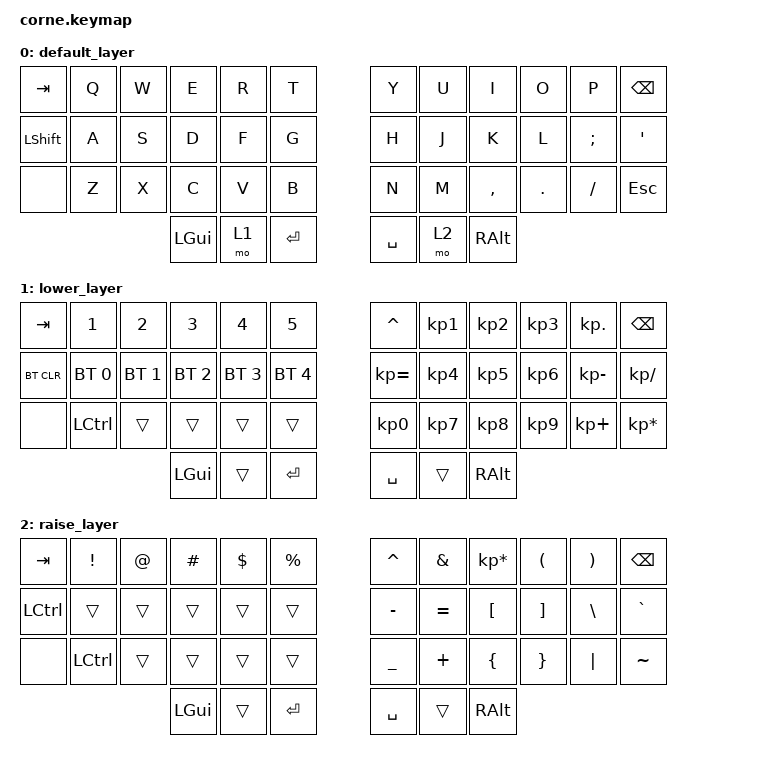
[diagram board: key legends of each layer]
/*
 * Copyright (c) 2020 The ZMK Contributors
 *
 * SPDX-License-Identifier: MIT
 */

#include <behaviors.dtsi>
#include <dt-bindings/zmk/bt.h>
#include <dt-bindings/zmk/keys.h>

/ {
    keymap {
        compatible = "zmk,keymap";

        default_layer {
            // -----------------------------------------------------------------------------------------
            // |  TAB |  Q  |  W  |  E  |  R  |  T  |   |  Y  |  U   |  I  |  O  |  P  | BKSP |
            // | CTRL |  A  |  S  |  D  |  F  |  G  |   |  H  |  J   |  K  |  L  |  ;  |  '   |
            // | SHFT |  Z  |  X  |  C  |  V  |  B  |   |  N  |  M   |  ,  |  .  |  /  | ESC  |
            //                    | GUI | LWR | SPC |   | ENT | RSE  | ALT |

            bindings = <
&kp TAB         &kp Q  &kp W  &kp E     &kp R  &kp T        &kp Y      &kp U  &kp I      &kp O    &kp P     &kp BSPC
&kp LEFT_SHIFT  &kp A  &kp S  &kp D     &kp F  &kp G        &kp H      &kp J  &kp K      &kp L    &kp SEMI  &kp SQT
&none           &kp Z  &kp X  &kp C     &kp V  &kp B        &kp N      &kp M  &kp COMMA  &kp DOT  &kp FSLH  &kp ESC
                              &kp LGUI  &mo 1  &kp ENTER    &kp SPACE  &mo 2  &kp RALT
            >;
        };

        lower_layer {
            // -----------------------------------------------------------------------------------------
            // |  TAB |  1  |  2  |  3  |  4  |  5  |   |  6  |  7  |  8  |  9  |  0  | BKSP |
            // | BTCLR| BT1 | BT2 | BT3 | BT4 | BT5 |   | LFT | DWN |  UP | RGT |     |      |
            // | SHFT |     |     |     |     |     |   |     |     |     |     |     |      |
            //                    | GUI |     | SPC |   | ENT |     | ALT |

            bindings = <
&kp TAB     &kp N1            &kp N2        &kp N3        &kp N4        &kp N5          &kp CARET        &kp KP_NUMBER_1  &kp KP_NUMBER_2  &kp KP_NUMBER_3  &kp KP_DOT    &kp BSPC
&bt BT_CLR  &bt BT_SEL 0      &bt BT_SEL 1  &bt BT_SEL 2  &bt BT_SEL 3  &bt BT_SEL 4    &kp KP_EQUAL     &kp KP_NUMBER_4  &kp KP_NUMBER_5  &kp KP_NUMBER_6  &kp KP_MINUS  &kp KP_DIVIDE
&none       &kp LEFT_CONTROL  &trans        &trans        &trans        &trans          &kp KP_NUMBER_0  &kp KP_NUMBER_7  &kp KP_NUMBER_8  &kp KP_NUMBER_9  &kp KP_PLUS   &kp KP_MULTIPLY
                                            &kp LGUI      &trans        &kp ENTER       &kp SPACE        &trans           &kp RALT
            >;
        };

        raise_layer {
            // -----------------------------------------------------------------------------------------
            // |  TAB |  !  |  @  |  #  |  $  |  %  |   |  ^  |  &  |  *  |  (  |  )  | BKSP |
            // | CTRL |     |     |     |     |     |   |  -  |  =  |  [  |  ]  |  \  |  `   |
            // | SHFT |     |     |     |     |     |   |  _  |  +  |  {  |  }  | "|" |  ~   |
            //                    | GUI |     | SPC |   | ENT |     | ALT |

            bindings = <
&kp TAB    &kp EXCL          &kp AT  &kp HASH  &kp DLLR  &kp PRCNT    &kp CARET  &kp AMPS   &kp KP_MULTIPLY  &kp LPAR  &kp RPAR  &kp BSPC
&kp LCTRL  &trans            &trans  &trans    &trans    &trans       &kp MINUS  &kp EQUAL  &kp LBKT         &kp RBKT  &kp BSLH  &kp GRAVE
&none      &kp LEFT_CONTROL  &trans  &trans    &trans    &trans       &kp UNDER  &kp PLUS   &kp LBRC         &kp RBRC  &kp PIPE  &kp TILDE
                                     &kp LGUI  &trans    &kp ENTER    &kp SPACE  &trans     &kp RALT
            >;
        };
    };
};
